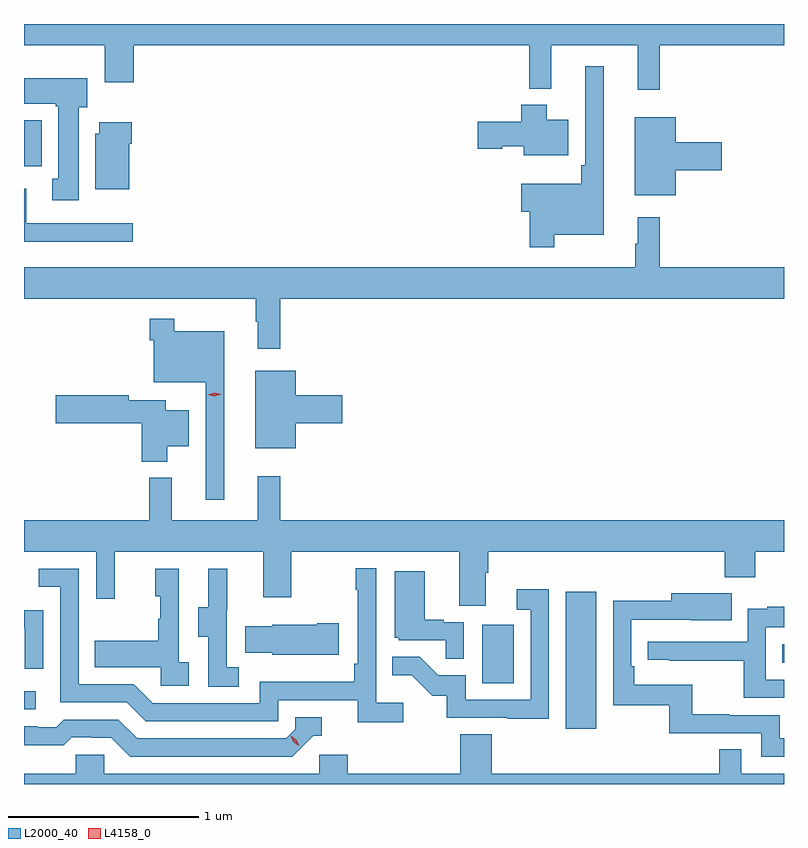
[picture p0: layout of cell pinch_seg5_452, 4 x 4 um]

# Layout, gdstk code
import gdstk
lib = gdstk.Library(unit=1e-6, precision=1e-09)
def R(c, l, rs):  # rectangles x0, y0, x1, y1
    for r in rs: c.add(gdstk.rectangle(r[:2], r[2:], *l))
def P(c, l, *ps):  # polygons
    for p in ps: c.add(gdstk.Polygon(p, *l))
L2000_40 = (2000, 40)
L4158_0 = (4158, 0)

pinch_seg5_452 = lib.new_cell('pinch_seg5_452')
R(pinch_seg5_452, L2000_40, [(925.484,855.828,925.645,856.549), (922.633,855.93,922.696,856.026), (925.046,856.068,925.21,856.375), (926.623,856.176,926.633,856.272), (922.633,858.788,922.726,859.03)])
P(pinch_seg5_452, L2000_40, [(925.979,859.424),(926.633,859.424),(926.633,859.537),(922.633,859.537),(922.633,859.424),(923.057,859.424),(923.057,859.23),(923.21,859.23),(923.21,859.424),(925.291,859.424),(925.291,859.196),(925.409,859.196),(925.409,859.424),(925.862,859.424),(925.862,859.191),(925.979,859.191)],
  [(925.423,858.428),(925.684,858.428),(925.684,859.315),(925.587,859.315),(925.587,858.793),(925.567,858.793),(925.567,858.697),(925.25,858.697),(925.25,858.55),(925.294,858.55),(925.294,858.363),(925.423,858.363)],
  [(922.921,859.098),(922.966,859.098),(922.966,859.252),(922.633,859.252),(922.633,859.118),(922.801,859.118),(922.801,859.105),(922.814,859.105),(922.814,858.722),(922.781,858.722),(922.781,858.609),(922.921,858.609)],
  [(925.498,859.033),(925.384,859.033),(925.384,859.111),(925.25,859.111),(925.25,859.023),(925.02,859.023),(925.02,858.881),(925.149,858.881),(925.149,858.893),(925.262,858.893),(925.262,858.845),(925.498,858.845)],
  [(926.062,858.767),(926.305,858.767),(926.305,858.914),(926.062,858.914),(926.062,859.045),(925.847,859.045),(925.847,858.635),(926.062,858.635)],
  [(923.188,858.908),(923.201,858.908),(923.201,859.021),(923.03,859.021),(923.03,858.96),(923.009,858.96),(923.009,858.668),(923.188,858.668)],
  [(923.206,858.489),(922.645,858.489),(922.645,858.67),(922.633,858.67),(922.633,858.392),(923.206,858.392)],
  [(923.981,858.092),(926.633,858.092),(926.633,858.256),(925.979,858.256),(925.979,858.52),(925.862,858.52),(925.862,858.38),(925.851,858.38),(925.851,858.256),(922.633,858.256),(922.633,858.092),(923.853,858.092),(923.853,857.969),(923.864,857.969),(923.864,857.829),(923.981,857.829)],
  [(923.686,857.92),(923.425,857.92),(923.425,857.986),(923.296,857.986),(923.296,857.873),(923.316,857.873),(923.316,857.651),(923.589,857.651),(923.589,857.034),(923.686,857.034)],
  [(924.064,857.435),(924.307,857.435),(924.307,857.582),(924.064,857.582),(924.064,857.713),(923.849,857.713),(923.849,857.303),(924.064,857.303)],
  [(923.386,857.315),(923.5,857.315),(923.5,857.503),(923.38,857.503),(923.38,857.557),(923.184,857.557),(923.184,857.582),(922.8,857.582),(922.8,857.435),(923.252,857.435),(923.252,857.234),(923.386,857.234)],
  [(925.063,856.648),(925.076,856.648),(925.076,856.76),(926.321,856.76),(926.321,856.625),(926.481,856.625),(926.481,856.76),(926.633,856.76),(926.633,856.924),(923.981,856.924),(923.981,857.158),(923.864,857.158),(923.864,856.924),(923.411,856.924),(923.411,857.149),(923.293,857.149),(923.293,856.924),(922.633,856.924),(922.633,856.76),(923.013,856.76),(923.013,856.512),(923.111,856.512),(923.111,856.76),(923.891,856.76),(923.891,856.521),(924.039,856.521),(924.039,856.76),(924.923,856.76),(924.923,856.474),(925.063,856.474)],
  [(924.628,855.964),(924.486,855.964),(924.486,856.672),(924.378,856.672),(924.378,856.559),(924.39,856.559),(924.39,856.171),(924.37,856.171),(924.37,856.075),(923.874,856.075),(923.874,855.963),(923.31,855.963),(923.211,856.062),(922.92,856.062),(922.92,856.671),(922.711,856.671),(922.711,856.575),(922.824,856.575),(922.824,855.966),(923.174,855.966),(923.273,855.867),(923.97,855.867),(923.97,855.978),(924.389,855.978),(924.389,855.862),(924.628,855.862)],
  [(923.764,856.151),(923.7,856.151),(923.7,856.455),(923.702,856.455),(923.702,856.669),(923.603,856.669),(923.603,856.467),(923.549,856.467),(923.549,856.312),(923.604,856.312),(923.604,856.048),(923.764,856.048)],
  [(923.5,856.178),(923.448,856.178),(923.448,856.669),(923.324,856.669),(923.324,856.524),(923.35,856.524),(923.35,856.406),(923.34,856.406),(923.34,856.291),(923.005,856.291),(923.005,856.151),(923.352,856.151),(923.352,856.053),(923.5,856.053)],
  [(924.948,856.389),(924.842,856.389),(924.842,856.402),(924.742,856.402),(924.742,856.657),(924.584,856.657),(924.584,856.308),(924.606,856.308),(924.606,856.293),(924.853,856.293),(924.853,856.195),(924.948,856.195)],
  [(925.395,856.561),(925.227,856.561),(925.227,856.455),(925.299,856.455),(925.299,855.981),(924.957,855.981),(924.957,856.11),(924.813,856.11),(924.715,856.208),(924.571,856.208),(924.571,856.109),(924.675,856.109),(924.782,856.002),(924.859,856.002),(924.859,855.885),(925.177,855.885),(925.177,855.88),(925.395,855.88)],
  [(926.633,855.777),(926.61,855.777),(926.61,855.9),(926.345,855.9),(926.345,855.905),(926.149,855.905),(926.149,856.06),(925.844,856.06),(925.844,856.156),(925.83,856.156),(925.83,856.401),(926.143,856.401),(926.143,856.4),(926.357,856.4),(926.357,856.54),(926.039,856.54),(926.039,856.502),(925.734,856.502),(925.734,855.951),(926.028,855.951),(926.028,855.804),(926.514,855.804),(926.514,855.681),(926.633,855.681)],
  [(926.633,856.086),(926.538,856.086),(926.538,856.362),(926.633,856.362),(926.633,856.471),(926.545,856.471),(926.545,856.459),(926.442,856.459),(926.442,856.287),(925.917,856.287),(925.917,856.191),(926.029,856.191),(926.029,856.186),(926.422,856.186),(926.422,855.99),(926.633,855.99)],
  [(922.734,856.452),(922.633,856.452),(922.633,856.355),(922.638,856.355),(922.638,856.143),(922.734,856.143)],
  [(924.289,856.383),(924.176,856.383),(924.176,856.375),(923.94,856.375),(923.94,856.366),(923.797,856.366),(923.797,856.229),(923.94,856.229),(923.94,856.217),(924.289,856.217)],
  [(924.156,855.792),(924.199,855.792),(924.199,855.888),(924.06,855.888),(924.06,855.825),(924.012,855.777),(923.229,855.777),(923.13,855.876),(922.841,855.876),(922.802,855.837),(922.703,855.837),(922.703,855.84),(922.633,855.84),(922.633,855.741),(922.841,855.741),(922.883,855.783),(922.986,855.783),(922.986,855.78),(923.093,855.78),(923.192,855.681),(924.045,855.681)],
  [(926.633,855.592),(926.409,855.592),(926.409,855.719),(926.293,855.719),(926.293,855.592),(925.094,855.592),(925.094,855.8),(924.929,855.8),(924.929,855.592),(924.338,855.592),(924.338,855.69),(924.186,855.69),(924.186,855.592),(923.055,855.592),(923.055,855.69),(922.905,855.69),(922.905,855.592),(922.633,855.592),(922.633,855.537),(926.633,855.537)])
P(pinch_seg5_452, L4158_0, [(924.082,855.738),(924.052,855.758),(924.036,855.791),(924.036,855.791),(924.036,855.791),(924.067,855.771),(924.082,855.738),(924.082,855.738)],
  [(923.636,857.577),(923.6,857.586),(923.599,857.586),(923.6,857.586),(923.635,857.597),(923.671,857.589),(923.671,857.589),(923.671,857.588)])

lib.write_gds('pinch_seg5_452.gds')
